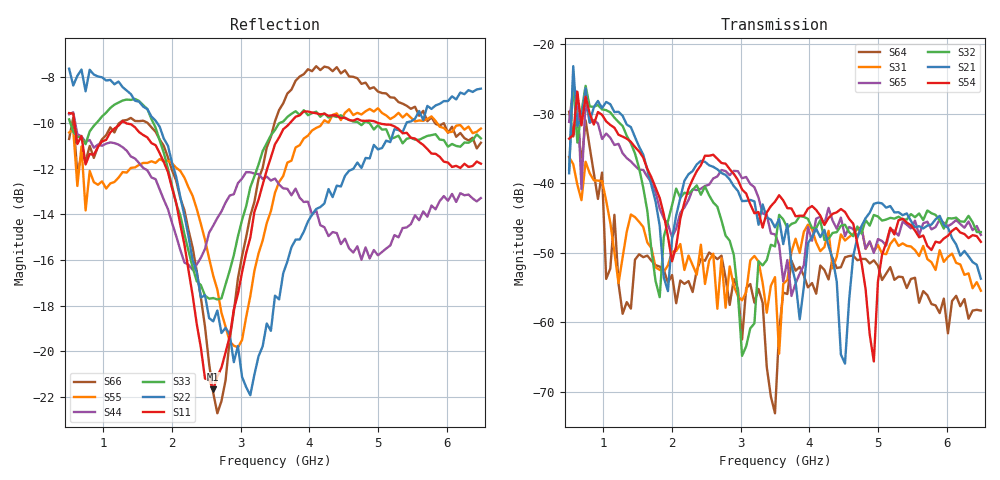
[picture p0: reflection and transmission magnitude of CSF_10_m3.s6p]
!Keysight Technologies,M9804A,MY58100912,A.14.10.03
!Date: Thursday, April 27, 2023 10:28:33
!Correction: S11(C  6-Port  )
!S12(C  6-Port  )
!S13(C  6-Port  )
!S14(C  6-Port  )
!S15(C  6-Port  )
!S16(C  6-Port  )
!S21(C  6-Port  )
!S22(C  6-Port  )
!S23(C  6-Port  )
!S24(C  6-Port  )
!S25(C  6-Port  )
!S26(C  6-Port  )
!S31(C  6-Port  )
!S32(C  6-Port  )
!S33(C  6-Port  )
!S34(C  6-Port  )
!S35(C  6-Port  )
!S36(C  6-Port  )
!S41(C  6-Port  )
!S42(C  6-Port  )
!S43(C  6-Port  )
!S44(C  6-Port  )
!S45(C  6-Port  )
!S46(C  6-Port  )
!S51(C  6-Port  )
!S52(C  6-Port  )
!S53(C  6-Port  )
!S54(C  6-Port  )
!S55(C  6-Port  )
!S56(C  6-Port  )
!S61(C  6-Port  )
!S62(C  6-Port  )
!S63(C  6-Port  )
!S64(C  6-Port  )
!S65(C  6-Port  )
!S66(C  6-Port  )
!S6P File: Measurement: :
# Hz S  RI  R 50
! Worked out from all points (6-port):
!   101 points, 500 MHz to 6.5 GHz, reference 50 ohm
!   strongest paths, dB at 500 MHz, 2 GHz, 3.5 GHz, 5 GHz, 6.5 GHz:
!     S54: -33.6, -51.2, -42.7, -54.1, -48.4
!     S21: -38.6, -48.0, -46.4, -42.8, -53.8
!     S32: -38.1, -43.2, -49.1, -44.8, -47.0
!     S65: -31.2, -47.8, -47.4, -48.0, -47.4
!     S31: -36.2, -49.9, -53.5, -48.9, -55.5
!     S64: -29.7, -53.2, -73.1, -51.9, -58.3
!   lowest |S11| = -21.7 dB at 2.6 GHz (marker M1), VSWR 1.18, Z = 42.6 + j2.05 ohm
!   |S11| at or under -10 dB: 578.7 MHz to 1.253 GHz (674.6 MHz wide, 73.6 % of centre); 1.331 GHz to 3.716 GHz (2.385 GHz wide, 94.5 % of centre); 5.012 GHz to end of sweep
